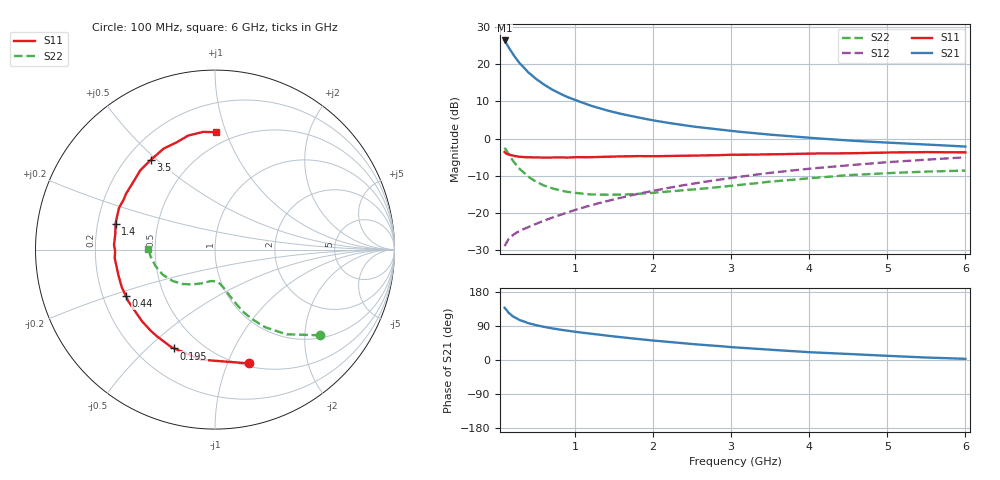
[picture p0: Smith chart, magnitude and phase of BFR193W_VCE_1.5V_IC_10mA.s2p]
! Infineon Technologies  Discrete & RF Semiconductors
! BFR193W
! VCE =  1.5 V,  IC =  10 mA
! Common Emitter S-Parameters:  Nov 2015
# GHz  S  MA  R  50
!  f  S11  S21  S12  S22
! GHz  MAG  ANG  MAG  ANG  MAG  ANG  MAG  ANG
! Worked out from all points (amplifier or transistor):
!   192 points, 100 MHz to 6 GHz, reference 50 ohm
!   highest |S21| = 26.4 dB at 100 MHz (marker M1)
!   |S21| within 3 dB of that: start of sweep to 185.8 MHz
!   unconditionally stable (mu >= 1): 933 MHz to 2.646 GHz
!   at 440 MHz: K = 0.73, MSG = 20.3 dB, |S12| = -23.5 dB
!   at 1.7 GHz: K = 1.05, MAG = 9.4 dB, |S12| = -15.4 dB
!   at 6 GHz: K = 0.92, MSG = 1.4 dB, |S12| = -5.0 dB
!   S11 on the Smith chart (normalised r, x): 100 MHz: 0.53, -1.19; 195 MHz: 0.36, -0.61; 440 MHz: 0.30, -0.22; 1.4 GHz: 0.28, +0.12; 3.5 GHz: 0.30, +0.48; 6 GHz: 0.40, +0.93
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0.1  0.6611 -73.5  20.9 137.6  0.0358 59.1  0.7564 -39.1
0.15  0.6181 -97.1  16.95 124.9  0.0445 52.1  0.6181 -49.8
0.195  0.5955 -112.4  14.28 117.0  0.0494 48.9  0.5261 -56.2
0.2  0.5957 -114.1  14.01 115.9  0.0499 48.6  0.5164 -57.0
0.24  0.5811 -123.9  12.21 111.0  0.0533 47.3  0.4534 -60.9
0.26  0.5769 -128.2  11.44 108.7  0.0549 47.0  0.4273 -62.6
0.3  0.5698 -135.6  10.13 104.7  0.0579 47.2  0.3851 -65.3
0.4  0.5625 -149.0  7.832 97.3  0.0644 48.3  0.3095 -69.8
0.44  0.5598 -152.6  7.243 95.4  0.0671 49.2  0.2912 -70.9
0.5  0.5601 -158.1  6.377 92.0  0.0713 50.5  0.264 -72.7
0.6  0.5568 -164.9  5.37 87.6  0.0786 52.5  0.2348 -75.7
0.7  0.557 -170.4  4.621 83.7  0.0858 54.4  0.2156 -77.6
0.9  0.5564 -179.2  3.641 77.3  0.1015 57.4  0.1925 -81.5
1.1  0.562 174.1  3.044 72.1  0.118 59.5  0.182 -85.7
1.4  0.5722 165.6  2.411 64.4  0.1436 61.2  0.1759 -92.2
1.8  0.5829 156.5  1.932 55.5  0.18 61.8  0.1805 -100.8
2.08  0.5815 150.3  1.707 49.9  0.2062 61.5  0.1897 -106.1
3.1  0.6077 131.7  1.239 32.7  0.3058 56.5  0.2374 -125.4
3.5  0.6147 125.6  1.132 26.9  0.3466 53.7  0.2641 -133.5
4.1  0.6314 115.3  1.009 19.7  0.4025 48.5  0.2984 -145.8
5.1  0.6529 101.8  0.874 10.1  0.49 39.6  0.347 -166.7
6  0.6542 89.4  0.782 3.1  0.5608 31.2  0.3721 179.6
